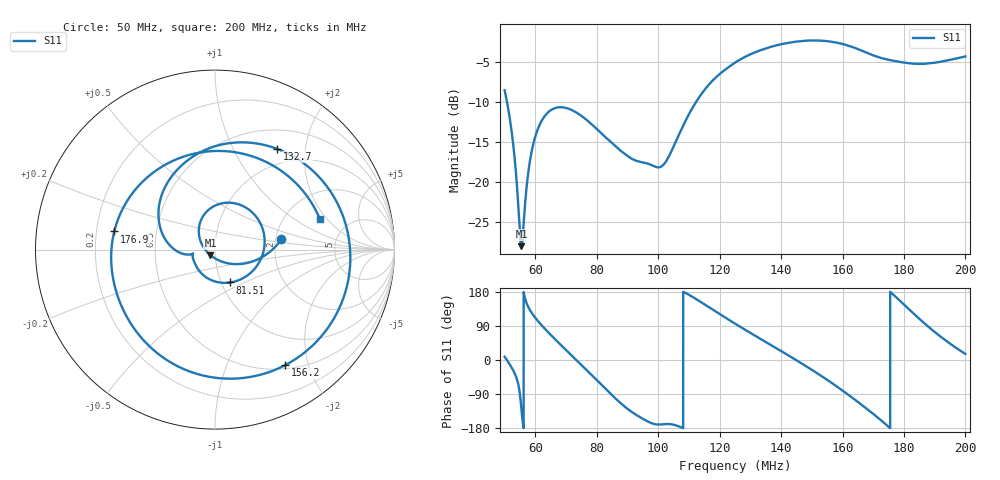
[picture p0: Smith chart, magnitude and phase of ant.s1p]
! COPPER MOUNTAIN TECHNOLOGIES, PLANAR TR1300/1, 00071119, 20.2.2/1.0
! Date: 1/9/2024 7:45:58 PM
! Data: Format [Calibration Info]
! Freq  S11: Re/Im F1
# HZ S RI R 50
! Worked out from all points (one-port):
!   12288 points, 50 MHz to 200 MHz, reference 50 ohm
!   lowest |S11| = -28.0 dB at 55.47 MHz (marker M1), VSWR 1.08, Z = 47.4 - j2.94 ohm
!   |S11| at or under -10 dB: 50.78 MHz to 112.3 MHz (61.52 MHz wide, 75.4 % of centre)
!   S11 on the Smith chart (normalised r, x): 50 MHz: 2.15, +0.28; 81.51 MHz: 1.10, -0.42; 132.7 MHz: 0.76, +1.51; 156.2 MHz: 0.55, -1.64; 176.9 MHz: 0.28, +0.08; 200 MHz: 3.14, +1.68
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5e7  0.3704 0.0568
5.262473e7  0.1671 -0.0769
5.493204e7  0.00256 -0.0504
5.54692e7  -0.0253 -0.0309
5.799626e7  -0.0899 0.0888
6.020591e7  -0.0655 0.1876
6.424676e7  0.0819 0.2613
6.875153e7  0.2371 0.1729
7.415968e7  0.2646 -0.0297
8.150891e7  0.085 -0.183
8.750305e7  -0.0592 -0.1473
1.003947e8  -0.1222 -0.021
1.062546e8  -0.1875 -0.0206
1.161065e8  -0.311 0.2488
1.250061e8  -0.0589 0.5536
1.327338e8  0.3461 0.5614
1.378489e8  0.5881 0.3953
1.437576e8  0.744 0.0711
1.498494e8  0.6937 -0.3238
1.561732e8  0.3901 -0.6443
1.625092e8  -0.0673 -0.7014
1.700537e8  -0.4909 -0.3754
1.769024e8  -0.5613 0.1011
1.812607e8  -0.4019 0.3798
1.853137e8  -0.1545 0.5246
1.894767e8  0.1203 0.5412
1.950435e8  0.4245 0.395
2e8  0.5852 0.1684
